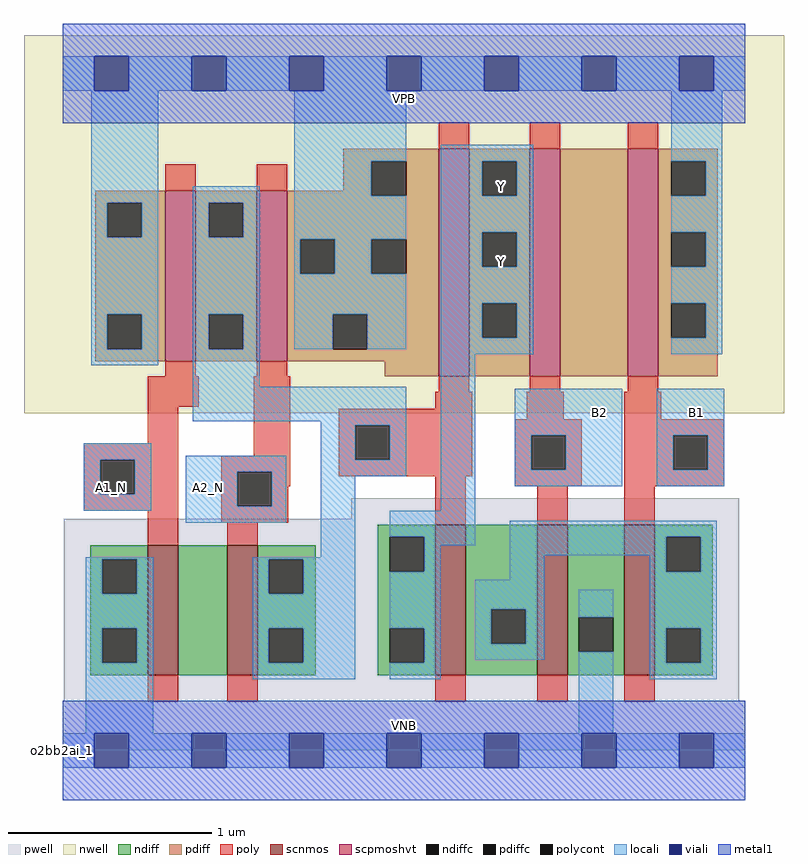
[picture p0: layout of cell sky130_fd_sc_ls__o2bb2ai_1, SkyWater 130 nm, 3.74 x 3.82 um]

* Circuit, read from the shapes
.subckt sky130_fd_sc_ls__o2bb2ai_1 A1_N A2_N B1 B2 VGND VNB VPB VPWR Y
XM1 n1 A1_N VGND VNB sky130_fd_pr__nfet_01v8 w=0.64 l=0.15
XM2 n2 A2_N n1 VNB sky130_fd_pr__nfet_01v8 w=0.64 l=0.15
XM3 n3 n2 Y VNB sky130_fd_pr__nfet_01v8 w=0.74 l=0.15
XM4 VGND B2 n3 VNB sky130_fd_pr__nfet_01v8 w=0.74 l=0.15
XM5 n3 B1 VGND VNB sky130_fd_pr__nfet_01v8 w=0.74 l=0.15
XM6 n2 A1_N VPWR VPB sky130_fd_pr__pfet_01v8_hvt w=0.84 l=0.15
XM7 VPWR A2_N n2 VPB sky130_fd_pr__pfet_01v8_hvt w=0.84 l=0.15
XM8 Y n2 VPWR VPB sky130_fd_pr__pfet_01v8_hvt w=1.12 l=0.15
XM9 n4 B2 Y VPB sky130_fd_pr__pfet_01v8_hvt w=1.12 l=0.15
XM10 VPWR B1 n4 VPB sky130_fd_pr__pfet_01v8_hvt w=1.12 l=0.15
.ends

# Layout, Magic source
magic
tech sky130A
magscale 1 2
<< nwell >>
rect -38 332 710 704
<< pwell >>
rect 284 228 666 248
rect 1 49 666 228
rect 0 0 672 49
<< scnmos >>
rect 84 74 114 202
rect 162 74 192 202
rect 367 74 397 222
rect 467 74 497 222
rect 553 74 583 222
<< scpmoshvt >>
rect 101 383 131 551
rect 191 383 221 551
rect 370 368 400 592
rect 460 368 490 592
rect 556 368 586 592
<< ndiff >>
rect 310 210 367 222
rect 27 188 84 202
rect 27 154 39 188
rect 73 154 84 188
rect 27 120 84 154
rect 27 86 39 120
rect 73 86 84 120
rect 27 74 84 86
rect 114 74 162 202
rect 192 188 249 202
rect 192 154 203 188
rect 237 154 249 188
rect 192 120 249 154
rect 192 86 203 120
rect 237 86 249 120
rect 192 74 249 86
rect 310 176 322 210
rect 356 176 367 210
rect 310 120 367 176
rect 310 86 322 120
rect 356 86 367 120
rect 310 74 367 86
rect 397 139 467 222
rect 397 105 422 139
rect 456 105 467 139
rect 397 74 467 105
rect 497 131 553 222
rect 497 97 508 131
rect 542 97 553 131
rect 497 74 553 97
rect 583 210 640 222
rect 583 176 594 210
rect 628 176 640 210
rect 583 120 640 176
rect 583 86 594 120
rect 628 86 640 120
rect 583 74 640 86
<< pdiff >>
rect 276 580 370 592
rect 276 551 304 580
rect 32 539 101 551
rect 32 505 44 539
rect 78 505 101 539
rect 32 429 101 505
rect 32 395 44 429
rect 78 395 101 429
rect 32 383 101 395
rect 131 539 191 551
rect 131 505 144 539
rect 178 505 191 539
rect 131 429 191 505
rect 131 395 144 429
rect 178 395 191 429
rect 131 383 191 395
rect 221 546 304 551
rect 338 546 370 580
rect 221 503 370 546
rect 221 469 234 503
rect 268 469 304 503
rect 338 469 370 503
rect 221 429 370 469
rect 221 395 266 429
rect 300 395 370 429
rect 221 383 370 395
rect 317 368 370 383
rect 400 580 460 592
rect 400 546 413 580
rect 447 546 460 580
rect 400 510 460 546
rect 400 476 413 510
rect 447 476 460 510
rect 400 440 460 476
rect 400 406 413 440
rect 447 406 460 440
rect 400 368 460 406
rect 490 368 556 592
rect 586 580 645 592
rect 586 546 599 580
rect 633 546 645 580
rect 586 510 645 546
rect 586 476 599 510
rect 633 476 645 510
rect 586 440 645 476
rect 586 406 599 440
rect 633 406 645 440
rect 586 368 645 406
<< ndiffc >>
rect 39 154 73 188
rect 39 86 73 120
rect 203 154 237 188
rect 203 86 237 120
rect 322 176 356 210
rect 322 86 356 120
rect 422 105 456 139
rect 508 97 542 131
rect 594 176 628 210
rect 594 86 628 120
<< pdiffc >>
rect 44 505 78 539
rect 44 395 78 429
rect 144 505 178 539
rect 144 395 178 429
rect 304 546 338 580
rect 234 469 268 503
rect 304 469 338 503
rect 266 395 300 429
rect 413 546 447 580
rect 413 476 447 510
rect 413 406 447 440
rect 599 546 633 580
rect 599 476 633 510
rect 599 406 633 440
<< poly >>
rect 370 592 400 618
rect 460 592 490 618
rect 556 592 586 618
rect 101 551 131 577
rect 191 551 221 577
rect 101 368 131 383
rect 191 368 221 383
rect 84 338 134 368
rect 84 302 114 338
rect 21 286 114 302
rect 188 290 224 368
rect 370 353 400 368
rect 460 353 490 368
rect 556 353 586 368
rect 367 336 403 353
rect 21 252 37 286
rect 71 252 114 286
rect 21 236 114 252
rect 84 202 114 236
rect 156 274 224 290
rect 156 240 172 274
rect 206 260 224 274
rect 272 320 403 336
rect 457 326 493 353
rect 553 326 589 353
rect 272 286 288 320
rect 322 286 403 320
rect 272 270 403 286
rect 445 310 511 326
rect 445 276 461 310
rect 495 276 511 310
rect 206 240 222 260
rect 156 224 222 240
rect 162 202 192 224
rect 367 222 397 270
rect 445 260 511 276
rect 553 310 651 326
rect 553 276 601 310
rect 635 276 651 310
rect 553 260 651 276
rect 467 222 497 260
rect 553 222 583 260
rect 84 48 114 74
rect 162 48 192 74
rect 367 48 397 74
rect 467 48 497 74
rect 553 48 583 74
<< polycont >>
rect 37 252 71 286
rect 172 240 206 274
rect 288 286 322 320
rect 461 276 495 310
rect 601 276 635 310
<< locali >>
rect 0 649 31 683
rect 65 649 127 683
rect 161 649 223 683
rect 257 649 319 683
rect 353 649 415 683
rect 449 649 511 683
rect 545 649 607 683
rect 641 649 672 683
rect 28 539 94 649
rect 228 580 338 649
rect 28 505 44 539
rect 78 505 94 539
rect 28 429 94 505
rect 28 395 44 429
rect 78 395 94 429
rect 28 379 94 395
rect 128 539 194 555
rect 128 505 144 539
rect 178 505 194 539
rect 128 429 194 505
rect 128 395 144 429
rect 178 395 194 429
rect 228 546 304 580
rect 228 503 338 546
rect 228 469 234 503
rect 268 469 304 503
rect 228 429 338 469
rect 228 395 266 429
rect 300 395 338 429
rect 372 580 463 596
rect 372 546 413 580
rect 447 546 463 580
rect 372 510 463 546
rect 372 476 413 510
rect 447 476 463 510
rect 372 440 463 476
rect 372 406 413 440
rect 447 406 463 440
rect 128 358 194 395
rect 372 390 463 406
rect 599 580 649 649
rect 633 546 649 580
rect 599 510 649 546
rect 633 476 649 510
rect 599 440 649 476
rect 633 406 649 440
rect 599 390 649 406
rect 128 324 338 358
rect 254 320 338 324
rect 21 286 87 302
rect 21 252 37 286
rect 71 252 87 286
rect 21 236 87 252
rect 121 274 220 290
rect 121 240 172 274
rect 206 240 220 274
rect 121 224 220 240
rect 254 286 288 320
rect 322 286 338 320
rect 254 270 338 286
rect 254 190 288 270
rect 372 236 406 390
rect 445 310 551 356
rect 445 276 461 310
rect 495 276 551 310
rect 445 260 551 276
rect 585 310 651 356
rect 585 276 601 310
rect 635 276 651 310
rect 585 260 651 276
rect 23 188 89 190
rect 23 154 39 188
rect 73 154 89 188
rect 23 120 89 154
rect 23 86 39 120
rect 73 86 89 120
rect 23 17 89 86
rect 187 188 288 190
rect 187 154 203 188
rect 237 154 288 188
rect 187 120 288 154
rect 187 86 203 120
rect 237 86 288 120
rect 187 70 288 86
rect 322 210 406 236
rect 356 202 406 210
rect 440 210 644 226
rect 356 176 372 202
rect 322 120 372 176
rect 440 192 594 210
rect 440 168 474 192
rect 356 86 372 120
rect 406 139 474 168
rect 578 176 594 192
rect 628 176 644 210
rect 406 105 422 139
rect 456 105 474 139
rect 406 89 474 105
rect 508 131 542 158
rect 322 70 372 86
rect 508 17 542 97
rect 578 120 644 176
rect 578 86 594 120
rect 628 86 644 120
rect 578 70 644 86
rect 0 -17 31 17
rect 65 -17 127 17
rect 161 -17 223 17
rect 257 -17 319 17
rect 353 -17 415 17
rect 449 -17 511 17
rect 545 -17 607 17
rect 641 -17 672 17
<< viali >>
rect 31 649 65 683
rect 127 649 161 683
rect 223 649 257 683
rect 319 649 353 683
rect 415 649 449 683
rect 511 649 545 683
rect 607 649 641 683
rect 31 -17 65 17
rect 127 -17 161 17
rect 223 -17 257 17
rect 319 -17 353 17
rect 415 -17 449 17
rect 511 -17 545 17
rect 607 -17 641 17
<< metal1 >>
rect 0 683 672 715
rect 0 649 31 683
rect 65 649 127 683
rect 161 649 223 683
rect 257 649 319 683
rect 353 649 415 683
rect 449 649 511 683
rect 545 649 607 683
rect 641 649 672 683
rect 0 617 672 649
rect 0 17 672 49
rect 0 -17 31 17
rect 65 -17 127 17
rect 161 -17 223 17
rect 257 -17 319 17
rect 353 -17 415 17
rect 449 -17 511 17
rect 545 -17 607 17
rect 641 -17 672 17
rect 0 -49 672 -17
<< labels >>
rlabel comment s 0 0 0 0 4 o2bb2ai_1
flabel pwell s 0 0 672 49 0 FreeSans 200 0 0 0 VNB
port 6 nsew ground bidirectional
flabel nwell s 0 617 672 666 0 FreeSans 200 0 0 0 VPB
port 7 nsew power bidirectional
flabel metal1 s 0 617 672 666 0 FreeSans 340 0 0 0 VPWR
port 8 nsew power bidirectional abutment
flabel metal1 s 0 0 672 49 0 FreeSans 340 0 0 0 VGND
port 5 nsew ground bidirectional abutment
flabel locali s 415 464 449 498 0 FreeSans 340 0 0 0 Y
port 9 nsew signal output
flabel locali s 415 538 449 572 0 FreeSans 340 0 0 0 Y
port 9 nsew signal output
flabel locali s 511 316 545 350 0 FreeSans 340 0 0 0 B2
port 4 nsew signal input
flabel locali s 31 242 65 276 0 FreeSans 340 0 0 0 A1_N
port 1 nsew signal input
flabel locali s 607 316 641 350 0 FreeSans 340 0 0 0 B1
port 3 nsew signal input
flabel locali s 127 242 161 276 0 FreeSans 340 0 0 0 A2_N
port 2 nsew signal input
<< properties >>
string LEFsite unit
string LEFclass CORE
string FIXED_BBOX 0 0 672 666
string GDS_FILE $PDKPATH/libs.ref/sky130_fd_sc_ls/gds/sky130_fd_sc_ls.gds
string LEFsymmetry X Y
string GDS_END 2745230
string GDS_START 2738630
<< end >>
